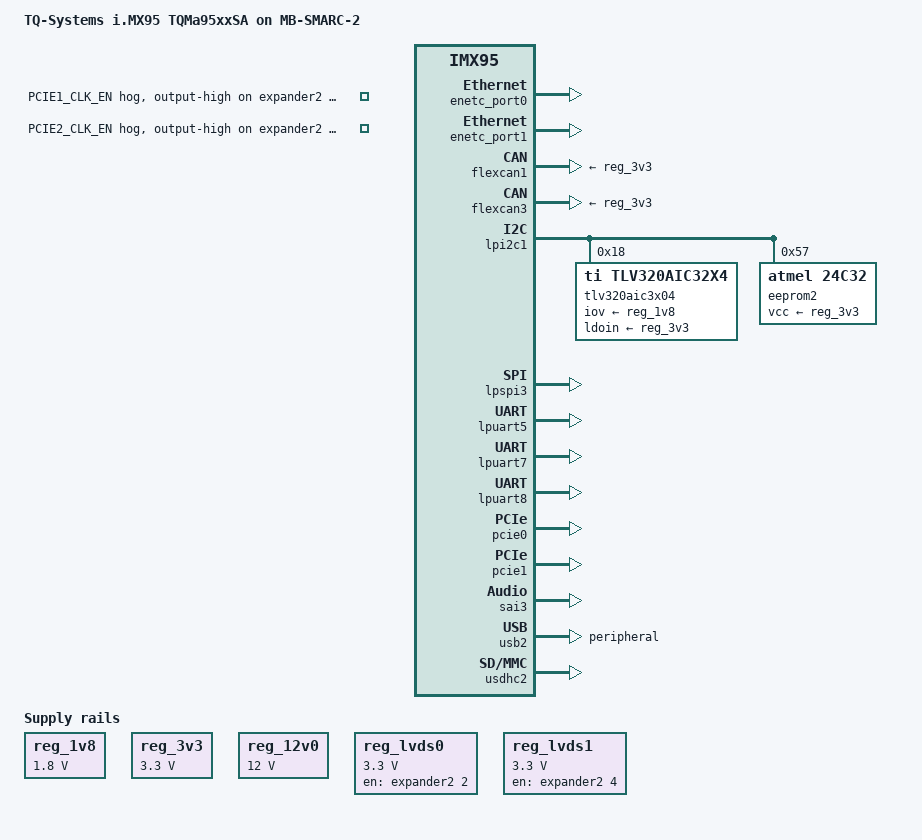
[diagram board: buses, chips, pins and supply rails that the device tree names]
// SPDX-License-Identifier: (GPL-2.0-or-later OR MIT)
/*
 * Copyright (c) 2024 TQ-Systems GmbH <linux@ew.tq-group.com>,
 * D-82229 Seefeld, Germany.
 * Author: Alexander Stein
 */

/dts-v1/;

#include <dt-bindings/phy/phy-imx8-pcie.h>
#include "imx95-tqma9596sa.dtsi"

/ {
	model = "TQ-Systems i.MX95 TQMa95xxSA on MB-SMARC-2";
	compatible = "tq,imx95-tqma9596sa-mb-smarc-2", "tq,imx95-tqma9596sa", "fsl,imx95";

	aliases {
		gpio0 = &gpio1;
		gpio1 = &gpio2;
		gpio2 = &gpio3;
		gpio3 = &gpio4;
		i2c0 = &lpi2c1;
		i2c1 = &lpi2c2;
		i2c2 = &lpi2c3;
		i2c3 = &lpi2c4;
		i2c4 = &lpi2c5;
		i2c5 = &lpi2c6;
		i2c6 = &lpi2c7;
		i2c7 = &lpi2c8;
		mmc0 = &usdhc1;
		mmc1 = &usdhc2;
		rtc0 = &pcf85063;
		rtc1 = &scmi_bbm;
		serial0 = &lpuart1;
		serial1 = &lpuart2;
		serial2 = &lpuart3;
		serial3 = &lpuart4;
		serial4 = &lpuart5;
		serial5 = &lpuart6;
		serial6 = &lpuart7;
		serial7 = &lpuart8;
		spi0 = &flexspi1;
		spi1 = &lpspi3;
	};

	chosen {
		stdout-path = &lpuart7;
	};

	backlight_lvds0: backlight-lvds0 {
		compatible = "pwm-backlight";
		pwms = <&tpm3 0 100000 0>;
		brightness-levels = <0 4 8 16 32 64 128 255>;
		default-brightness-level = <7>;
		enable-gpios = <&expander2 1 GPIO_ACTIVE_HIGH>;
		power-supply = <&reg_12v0>;
		status = "disabled";
	};

	backlight_lvds1: backlight-lvds1 {
		compatible = "pwm-backlight";
		pwms = <&tpm4 0 100000 0>;
		brightness-levels = <0 4 8 16 32 64 128 255>;
		default-brightness-level = <7>;
		enable-gpios = <&expander2 3 GPIO_ACTIVE_HIGH>;
		power-supply = <&reg_12v0>;
		status = "disabled";
	};

	panel_lvds0: panel-lvds0 {
		/*
		 * Display is not fixed, so compatible has to be added from
		 * DT overlay
		 */
		backlight = <&backlight_lvds0>;
		power-supply = <&reg_lvds0>;
		status = "disabled";

		port {
			panel_in_lvds0: endpoint {
				/* TODO: LVDS0 out */
			};
		};
	};

	panel_lvds1: panel-lvds1 {
		/*
		 * Display is not fixed, so compatible has to be added from
		 * DT overlay
		 */
		backlight = <&backlight_lvds1>;
		power-supply = <&reg_lvds1>;
		status = "disabled";

		port {
			panel_in_lvds1: endpoint {
				/* TODO: LVDS1 out */
			};
		};
	};

	reg_1v8: regulator-1v8 {
		compatible = "regulator-fixed";
		regulator-name = "1V8";
		regulator-min-microvolt = <1800000>;
		regulator-max-microvolt = <1800000>;
		regulator-always-on;
	};

	reg_3v3: regulator-3v3 {
		compatible = "regulator-fixed";
		regulator-name = "3V3";
		regulator-min-microvolt = <3300000>;
		regulator-max-microvolt = <3300000>;
		regulator-always-on;
	};

	reg_12v0: regulator-12v0 {
		compatible = "regulator-fixed";
		regulator-name = "12V0";
		regulator-min-microvolt = <12000000>;
		regulator-max-microvolt = <12000000>;
		regulator-always-on;
	};

	reg_lvds0: regulator-lvds0 {
		compatible = "regulator-fixed";
		regulator-name = "LCD0_VDD_EN";
		regulator-min-microvolt = <3300000>;
		regulator-max-microvolt = <3300000>;
		gpio = <&expander2 2 GPIO_ACTIVE_HIGH>;
		enable-active-high;
	};

	reg_lvds1: regulator-lvds1 {
		compatible = "regulator-fixed";
		regulator-name = "LCD1_VDD_EN";
		regulator-min-microvolt = <3300000>;
		regulator-max-microvolt = <3300000>;
		gpio = <&expander2 4 GPIO_ACTIVE_HIGH>;
		enable-active-high;
	};

	sound {
		compatible = "fsl,imx-audio-tlv320aic32x4";
		model = "tqm-tlv320aic32";
		audio-codec = <&tlv320aic3x04>;
		audio-cpu = <&sai3>;
		audio-routing =
			"IN3_L", "Mic Jack",
			"Mic Jack", "Mic Bias",
			"IN1_L", "Line In Jack",
			"IN1_R", "Line In Jack",
			"Line Out Jack", "LOL",
			"Line Out Jack", "LOR";
	};
};

&enetc_port0 {
	status = "okay";
};

&enetc_port1 {
	status = "okay";
};

&expander2 {
	pcie1-clk-en-hog {
		gpio-hog;
		gpios = <14 GPIO_ACTIVE_HIGH>;
		output-high;
		line-name = "PCIE1_CLK_EN";
	};

	pcie2-clk-en-hog {
		gpio-hog;
		gpios = <15 GPIO_ACTIVE_HIGH>;
		output-high;
		line-name = "PCIE2_CLK_EN";
	};
};

&flexcan1 {
	xceiver-supply = <&reg_3v3>;
	status = "okay";
};

&flexcan3 {
	xceiver-supply = <&reg_3v3>;
	status = "okay";
};

&lpi2c1 {
	tlv320aic3x04: audio-codec@18 {
		compatible = "ti,tlv320aic32x4";
		reg = <0x18>;
		clocks = <&scmi_clk IMX95_CLK_SAI3>;
		clock-names = "mclk";
		iov-supply = <&reg_1v8>;
		ldoin-supply = <&reg_3v3>;
	};

	eeprom2: eeprom@57 {
		compatible = "atmel,24c32";
		reg = <0x57>;
		pagesize = <32>;
		vcc-supply = <&reg_3v3>;
	};
};

&lpspi3 {
	status = "okay";
};

/* SER0 */
&lpuart1 {
	status = "reserved";
};

/* SER3 */
&lpuart5 {
	status = "okay";
};

/* SER1 */
&lpuart7 {
	status = "okay";
};

/* SER2 */
&lpuart8 {
	status = "okay";
};

/* X44 mPCIe */
&pcie0 {
	status = "okay";
};

/* X22 PCIe x1 socket */
&pcie1 {
	status = "okay";
};

&reg_sdvmmc {
	status = "okay";
};

&sai3 {
	status = "okay";
};

/* X4 */
&usb2 {
	srp-disable;
	hnp-disable;
	adp-disable;
	/* DR not yet supported */
	dr_mode = "peripheral";
	disable-over-current;
	status = "okay";
};

/* X16 */
&usdhc2 {
	no-mmc;
	no-sdio;
	status = "okay";
};
